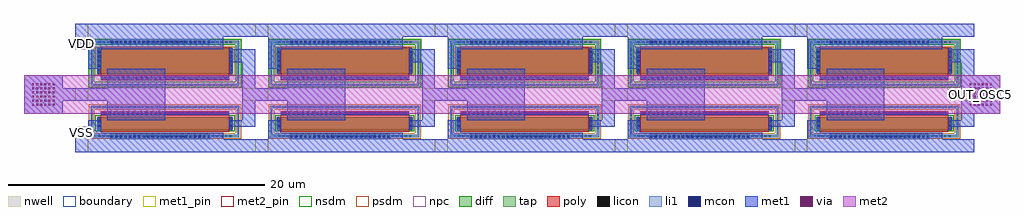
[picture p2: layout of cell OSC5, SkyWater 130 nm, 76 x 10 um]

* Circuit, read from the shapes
.subckt OSC5 OUT_OSC5 VDD VSS
XM1 inv_x4_0/INV_IN OUT_OSC5 VSS VSS sky130_fd_pr__nfet_01v8 w=1 l=10
XM2 inv_x4_1/INV_IN inv_x4_0/INV_IN VSS VSS sky130_fd_pr__nfet_01v8 w=1 l=10
XM3 inv_x4_2/INV_IN inv_x4_1/INV_IN VSS VSS sky130_fd_pr__nfet_01v8 w=1 l=10
XM4 inv_x4_4/INV_IN inv_x4_2/INV_IN VSS VSS sky130_fd_pr__nfet_01v8 w=1 l=10
XM5 OUT_OSC5 inv_x4_4/INV_IN VSS VSS sky130_fd_pr__nfet_01v8 w=1 l=10
XM6 inv_x4_0/INV_IN OUT_OSC5 VDD VDD sky130_fd_pr__pfet_01v8 w=2 l=10
XM7 inv_x4_1/INV_IN inv_x4_0/INV_IN VDD VDD sky130_fd_pr__pfet_01v8 w=2 l=10
XM8 inv_x4_2/INV_IN inv_x4_1/INV_IN VDD VDD sky130_fd_pr__pfet_01v8 w=2 l=10
XM9 inv_x4_4/INV_IN inv_x4_2/INV_IN VDD VDD sky130_fd_pr__pfet_01v8 w=2 l=10
XM10 OUT_OSC5 inv_x4_4/INV_IN VDD VDD sky130_fd_pr__pfet_01v8 w=2 l=10
.ends

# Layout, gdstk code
import gdstk
lib = gdstk.Library(unit=1e-6, precision=1e-09)
def R(c, l, rs):  # rectangles x0, y0, x1, y1
    for r in rs: c.add(gdstk.rectangle(r[:2], r[2:], *l))
def A(c, l, x, y, w, h, nx, ny, dx, dy):  # array of equal rectangles
    R(c, l, [(x+i*dx, y+j*dy, x+i*dx+w, y+j*dy+h) for i in range(nx) for j in range(ny)])
nwell = (64, 20)
diff = (65, 20)
tap = (65, 44)
poly = (66, 20)
licon = (66, 44)
li1 = (67, 20)
mcon = (67, 44)
met1_pin = (68, 16)
met1 = (68, 20)
via = (68, 44)
met2_pin = (69, 16)
met2 = (69, 20)
nsdm = (93, 44)
psdm = (94, 20)
npc = (95, 20)
boundary = (235, 4)

sky130_fd_pr__pfet_01v8_ = lib.new_cell('sky130_fd_pr__pfet_01v8_P6BKAN')
R(sky130_fd_pr__pfet_01v8_, nwell, [(-5.98,-1.92,5.98,1.92)])
R(sky130_fd_pr__pfet_01v8_, diff, [(-5.29,-0.82,5.29,1.18)])
R(sky130_fd_pr__pfet_01v8_, tap, [(-5.8,-1.74,5.8,-1.57), (-5.8,-1.57,-5.63,1.57), (5.63,-1.57,5.8,1.57), (-5.8,1.57,5.8,1.74)])
R(sky130_fd_pr__pfet_01v8_, poly, [(-5,-1.305,5,1.31)])
A(sky130_fd_pr__pfet_01v8_, licon, -5.185, -1.74, 0.17, 0.17, 31, 2, 0.34, 3.31)
A(sky130_fd_pr__pfet_01v8_, licon, -4.845, -1.225, 0.17, 0.17, 29, 1, 0.34, 0)
A(sky130_fd_pr__pfet_01v8_, licon, -5.8, -1.105, 0.17, 0.17, 1, 7, 0, 0.34)
A(sky130_fd_pr__pfet_01v8_, licon, 5.63, -1.105, 0.17, 0.17, 1, 7, 0, 0.34)
A(sky130_fd_pr__pfet_01v8_, licon, -5.23, -0.755, 0.17, 0.17, 1, 6, 0, 0.34)
A(sky130_fd_pr__pfet_01v8_, licon, 5.06, -0.755, 0.17, 0.17, 1, 6, 0, 0.34)
R(sky130_fd_pr__pfet_01v8_, li1, [(-5.8,-1.74,5.8,-1.57), (-5.8,-1.57,-5.63,1.57), (5.63,-1.57,5.8,1.57), (-5,-1.225,5,-1.055), (-5.23,-0.84,-5.06,1.2), (5.06,-0.84,5.23,1.2), (-5.8,1.57,5.8,1.74)])
A(sky130_fd_pr__pfet_01v8_, mcon, -4.765, -1.225, 0.17, 0.17, 27, 1, 0.36, 0)
A(sky130_fd_pr__pfet_01v8_, mcon, -5.23, -0.625, 0.17, 0.17, 1, 5, 0, 0.36)
A(sky130_fd_pr__pfet_01v8_, mcon, 5.06, -0.625, 0.17, 0.17, 1, 5, 0, 0.36)
R(sky130_fd_pr__pfet_01v8_, met1, [(-4.98,-1.255,4.98,-1.025), (-5.26,-0.82,-5.03,1.18), (5.03,-0.82,5.26,1.18)])
R(sky130_fd_pr__pfet_01v8_, nsdm, [(-5.925,-1.865,5.925,-1.445), (-5.925,-1.445,-5.505,1.445), (5.505,-1.445,5.925,1.445), (-5.925,1.445,5.925,1.865)])
R(sky130_fd_pr__pfet_01v8_, psdm, [(-5.415,-0.945,5.415,1.305)])
R(sky130_fd_pr__pfet_01v8_, npc, [(-4.945,-1.325,4.945,-0.955)])
R(sky130_fd_pr__pfet_01v8_, boundary, [(-5.715,-1.655,5.715,1.655)])

sky130_fd_pr__nfet_01v8_ = lib.new_cell('sky130_fd_pr__nfet_01v8_QXQT3M')
R(sky130_fd_pr__nfet_01v8_, diff, [(-5.29,-0.655,5.29,0.345)])
R(sky130_fd_pr__nfet_01v8_, tap, [(-5.8,-1.215,5.8,-1.045), (-5.8,-1.045,-5.63,1.045), (5.63,-1.045,5.8,1.045), (-5.8,1.045,5.8,1.215)])
R(sky130_fd_pr__nfet_01v8_, poly, [(-5,-0.785,5,0.785)])
A(sky130_fd_pr__nfet_01v8_, licon, -5.185, -1.215, 0.17, 0.17, 31, 2, 0.34, 2.26)
A(sky130_fd_pr__nfet_01v8_, licon, -5.8, -0.595, 0.17, 0.17, 1, 4, 0, 0.34)
A(sky130_fd_pr__nfet_01v8_, licon, 5.63, -0.595, 0.17, 0.17, 1, 4, 0, 0.34)
A(sky130_fd_pr__nfet_01v8_, licon, -5.23, -0.58, 0.17, 0.17, 1, 3, 0, 0.34)
A(sky130_fd_pr__nfet_01v8_, licon, 5.06, -0.58, 0.17, 0.17, 1, 3, 0, 0.34)
A(sky130_fd_pr__nfet_01v8_, licon, -4.845, 0.535, 0.17, 0.17, 29, 1, 0.34, 0)
R(sky130_fd_pr__nfet_01v8_, li1, [(-5.8,-1.215,5.8,-1.045), (-5.8,-1.045,-5.63,1.045), (5.63,-1.045,5.8,1.045), (-5.23,-0.675,-5.06,0.365), (5.06,-0.675,5.23,0.365), (-5,0.535,5,0.705), (-5.8,1.045,5.8,1.215)])
A(sky130_fd_pr__nfet_01v8_, mcon, -4.765, 0.535, 0.17, 0.17, 27, 1, 0.36, 0)
R(sky130_fd_pr__nfet_01v8_, mcon, [(-5.23,-0.42,-5.06,-0.25), (5.06,-0.42,5.23,-0.25), (-5.23,-0.06,-5.06,0.11), (5.06,-0.06,5.23,0.11)])
R(sky130_fd_pr__nfet_01v8_, met1, [(-5.26,-0.655,-5.03,0.345), (5.03,-0.655,5.26,0.345), (-4.98,0.505,4.98,0.735)])
R(sky130_fd_pr__nfet_01v8_, nsdm, [(-5.415,-0.78,5.415,0.47)])
R(sky130_fd_pr__nfet_01v8_, psdm, [(-5.925,-1.34,5.925,-0.92), (-5.925,-0.92,-5.505,0.92), (5.505,-0.92,5.925,0.92), (-5.925,0.92,5.925,1.34)])
R(sky130_fd_pr__nfet_01v8_, npc, [(-4.945,0.435,4.945,0.805)])
R(sky130_fd_pr__nfet_01v8_, boundary, [(-5.715,-1.13,5.715,1.13)])

inv_x4 = lib.new_cell('inv_x4')
R(inv_x4, li1, [(6.7,-5,14.5,-4.6), (6.7,2.4,14.5,2.8)])
A(inv_x4, mcon, 6.735, -4.885, 0.17, 0.17, 22, 2, 0.36, 7.4)
R(inv_x4, met1_pin, [(4,-6,5,-5), (4,-2,5,-1), (17,-2,18,-1), (4,3,5,4)])
R(inv_x4, met1, [(4,-6,18,-5), (5,-5,15.5,-4.5), (5,-4.5,6,-3.5), (16,-4,18,-3.5), (6.5,-3.5,11,-2), (17,-3.5,18,1), (4,-2,11,-1), (6.5,-1,11,0.5), (5,0.5,6,2), (16,1,18,2), (5,2,15.5,3), (4,3,18,4)])
inv_x4.add(gdstk.Reference(sky130_fd_pr__pfet_01v8_, (10.98,0.92)))
inv_x4.add(gdstk.Reference(sky130_fd_pr__nfet_01v8_, (10.98,-3.605)))
inv_x4.add(gdstk.Label('INV_IN', (4.5,-1.5), layer=68, texttype=5))
inv_x4.add(gdstk.Label('INV_OUT', (17.5,-1.5), layer=68, texttype=5))
inv_x4.add(gdstk.Label('VSS', (4.5,-5.5), layer=68, texttype=5))
inv_x4.add(gdstk.Label('VDD', (4.5,3.5), layer=68, texttype=5))

osc5 = lib.new_cell('OSC5')
R(osc5, met1_pin, [(3,-4,4,-3), (3,3,4,4)])
R(osc5, met1, [(3,-4,4,-3), (-1,-2,2,-1), (72,-2,75,1), (-1,-1,3,0), (-1,0,2,1), (3,3,4,4)])
A(osc5, via, -0.375, -1.375, 0.15, 0.15, 6, 6, 0.32, 0.32)
A(osc5, via, 72.625, -1.375, 0.15, 0.15, 6, 6, 0.32, 0.32)
R(osc5, met2_pin, [(73,-1,74,0)])
R(osc5, met2, [(-1,-2,75,1)])
osc5.add(gdstk.Reference(inv_x4, (13,1)))
osc5.add(gdstk.Reference(inv_x4, (27,1)))
osc5.add(gdstk.Reference(inv_x4, (41,1)))
osc5.add(gdstk.Reference(inv_x4, (-1,1)))
osc5.add(gdstk.Reference(inv_x4, (55,1)))
osc5.add(gdstk.Label('VSS', (3.5,-3.5), layer=68, texttype=5))
osc5.add(gdstk.Label('VDD', (3.5,3.5), layer=68, texttype=5))
osc5.add(gdstk.Label('OUT_OSC5', (73.5,-0.5), layer=69, texttype=5))

lib.write_gds('OSC5.gds')
